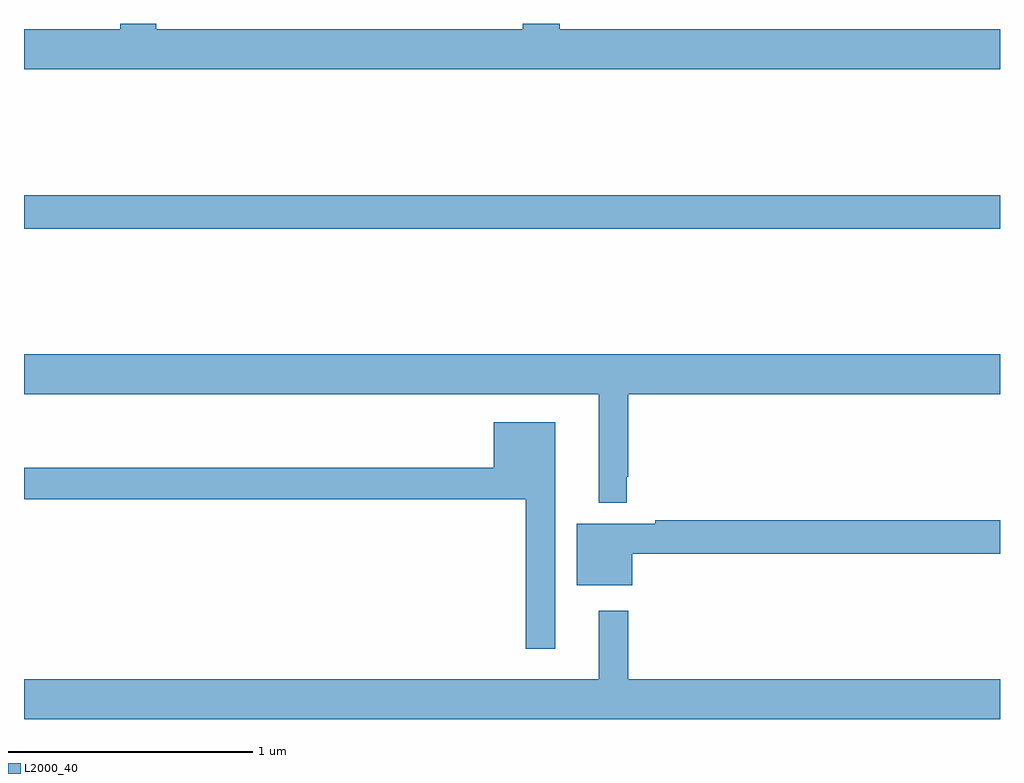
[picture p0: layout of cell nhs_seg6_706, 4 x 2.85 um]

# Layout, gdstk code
import gdstk
lib = gdstk.Library(unit=1e-6, precision=1e-09)
def R(c, l, rs):  # rectangles x0, y0, x1, y1
    for r in rs: c.add(gdstk.rectangle(r[:2], r[2:], *l))
def P(c, l, *ps):  # polygons
    for p in ps: c.add(gdstk.Polygon(p, *l))
L2000_40 = (2000, 40)

nhs_seg6_706 = lib.new_cell('nhs_seg6_706')
R(nhs_seg6_706, L2000_40, [(155,970.66,159,970.796)])
P(nhs_seg6_706, L2000_40, [(159,971.476),(157.196,971.476),(157.196,971.5),(157.044,971.5),(157.044,971.476),(155.542,971.476),(155.542,971.5),(155.395,971.5),(155.395,971.476),(155,971.476),(155,971.312),(159,971.312)],
  [(157.47,969.643),(157.477,969.643),(157.477,969.98),(159,969.98),(159,970.144),(155,970.144),(155,969.98),(157.355,969.98),(157.355,969.536),(157.47,969.536)],
  [(157.177,969.865),(156.926,969.865),(156.926,969.679),(155,969.679),(155,969.55),(157.056,969.55),(157.056,968.937),(157.177,968.937)],
  [(157.492,969.328),(159,969.328),(159,969.464),(157.588,969.464),(157.588,969.451),(157.265,969.451),(157.265,969.197),(157.492,969.197)],
  [(159,968.812),(157.477,968.812),(157.477,969.094),(157.355,969.094),(157.355,968.812),(155,968.812),(155,968.648),(159,968.648)])

lib.write_gds('nhs_seg6_706.gds')
